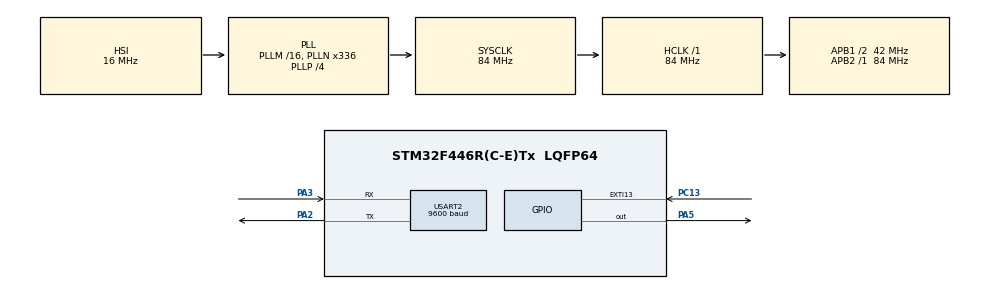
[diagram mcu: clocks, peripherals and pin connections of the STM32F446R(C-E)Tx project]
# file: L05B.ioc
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Mcu.Family=STM32F4
Mcu.Name=STM32F446R(C-E)Tx
Mcu.Package=LQFP64
NVIC.EXTI15_10_IRQn=true\:0\:0\:false\:false\:true\:true\:true\:true
NVIC.PriorityGroup=NVIC_PRIORITYGROUP_0
NVIC.USART2_IRQn=true\:0\:0\:false\:false\:true\:true\:true\:true
PA2.Mode=Asynchronous
PA2.Signal=USART2_TX
PA3.GPIO_PuPd=GPIO_PULLUP
PA3.Mode=Asynchronous
PA3.Signal=USART2_RX
PA5.Signal=GPIO_Output
PC13.GPIO_ModeDefaultEXTI=GPIO_MODE_IT_FALLING
PC13.GPIO_PuPd=GPIO_PULLUP
PC13.Signal=GPXTI13
ProjectManager.HeapSize=0x200
ProjectManager.StackSize=0x400
ProjectManager.TargetToolchain=STM32CubeIDE
RCC.AHBFreq_Value=84000000
RCC.APB1CLKDivider=RCC_HCLK_DIV2
RCC.APB1Freq_Value=42000000
RCC.APB1TimFreq_Value=84000000
RCC.APB2Freq_Value=84000000
RCC.APB2TimFreq_Value=84000000
RCC.CortexFreq_Value=84000000
RCC.FLatency-AdvancedSettings=FLASH_LATENCY_2
RCC.HCLKFreq_Value=84000000
RCC.HSE_VALUE=8000000
RCC.HSI_VALUE=16000000
RCC.LSE_VALUE=32768
RCC.PLLN=336
RCC.PLLP=RCC_PLLP_DIV4
RCC.SYSCLKFreq_VALUE=84000000
RCC.SYSCLKSource=RCC_SYSCLKSOURCE_PLLCLK
RCC.USBFreq_Value=168000000
RCC.VCOOutputFreq_Value=336000000
USART2.BaudRate=9600
USART2.VirtualMode=VM_ASYNC
board=NUCLEO-F446RE

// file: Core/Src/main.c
/* USER CODE BEGIN Header */
/**
  ******************************************************************************
  * @file           : main.c
  * @brief          : Main program body
  ******************************************************************************
  * @attention
  *
  * Copyright (c) 2025 STMicroelectronics.
  * All rights reserved.
  *
  * This software is licensed under terms that can be found in the LICENSE file
  * in the root directory of this software component.
  * If no LICENSE file comes with this software, it is provided AS-IS.
  *
  ******************************************************************************
  */
/* USER CODE END Header */
#include "main.h"

/* USER CODE BEGIN Includes */
#include<stdio.h>
#include<string.h>

/* USER CODE END Includes */

UART_HandleTypeDef huart2;

/* USER CODE BEGIN PV */

char chTXBuffer[100];

uint8_t ui8ApasariButon;

uint8_t ui8RX;

/* USER CODE END PV */

void SystemClock_Config(void);
static void MX_GPIO_Init(void);
static void MX_USART2_UART_Init(void);

int main(void)
{

  /* MCU Configuration--------------------------------------------------------*/

  /* Reset of all peripherals, Initializes the Flash interface and the Systick. */
  HAL_Init();

  /* Configure the system clock */
  SystemClock_Config();

  /* Initialize all configured peripherals */
  MX_GPIO_Init();
  MX_USART2_UART_Init();
  /* USER CODE BEGIN 2 */

  sprintf(chTXBuffer,"Primul meu mesaj de pe STM32F446\r\n");
  HAL_UART_Transmit(&huart2, (uint8_t *)chTXBuffer, strlen(chTXBuffer), HAL_MAX_DELAY);

  HAL_UART_Receive_IT(&huart2, &ui8RX, 1);

  /* USER CODE END 2 */

  /* Infinite loop */
  while (1)
  {

  }
}

void SystemClock_Config(void)
{
  RCC_OscInitTypeDef RCC_OscInitStruct = {0};
  RCC_ClkInitTypeDef RCC_ClkInitStruct = {0};

  /** Configure the main internal regulator output voltage
  */
  __HAL_RCC_PWR_CLK_ENABLE();
  __HAL_PWR_VOLTAGESCALING_CONFIG(PWR_REGULATOR_VOLTAGE_SCALE3);

  /** Initializes the RCC Oscillators according to the specified parameters
  * in the RCC_OscInitTypeDef structure.
  */
  RCC_OscInitStruct.OscillatorType = RCC_OSCILLATORTYPE_HSI;
  RCC_OscInitStruct.HSIState = RCC_HSI_ON;
  RCC_OscInitStruct.HSICalibrationValue = RCC_HSICALIBRATION_DEFAULT;
  RCC_OscInitStruct.PLL.PLLState = RCC_PLL_ON;
  RCC_OscInitStruct.PLL.PLLSource = RCC_PLLSOURCE_HSI;
  RCC_OscInitStruct.PLL.PLLM = 16;
  RCC_OscInitStruct.PLL.PLLN = 336;
  RCC_OscInitStruct.PLL.PLLP = RCC_PLLP_DIV4;
  RCC_OscInitStruct.PLL.PLLQ = 2;
  RCC_OscInitStruct.PLL.PLLR = 2;
  if (HAL_RCC_OscConfig(&RCC_OscInitStruct) != HAL_OK)
  {
    Error_Handler();
  }

  /** Initializes the CPU, AHB and APB buses clocks
  */
  RCC_ClkInitStruct.ClockType = RCC_CLOCKTYPE_HCLK|RCC_CLOCKTYPE_SYSCLK
                              |RCC_CLOCKTYPE_PCLK1|RCC_CLOCKTYPE_PCLK2;
  RCC_ClkInitStruct.SYSCLKSource = RCC_SYSCLKSOURCE_PLLCLK;
  RCC_ClkInitStruct.AHBCLKDivider = RCC_SYSCLK_DIV1;
  RCC_ClkInitStruct.APB1CLKDivider = RCC_HCLK_DIV2;
  RCC_ClkInitStruct.APB2CLKDivider = RCC_HCLK_DIV1;

  if (HAL_RCC_ClockConfig(&RCC_ClkInitStruct, FLASH_LATENCY_2) != HAL_OK)
  {
    Error_Handler();
  }
}

static void MX_USART2_UART_Init(void)
{

  huart2.Instance = USART2;
  huart2.Init.BaudRate = 9600;
  huart2.Init.WordLength = UART_WORDLENGTH_8B;
  huart2.Init.StopBits = UART_STOPBITS_1;
  huart2.Init.Parity = UART_PARITY_NONE;
  huart2.Init.Mode = UART_MODE_TX_RX;
  huart2.Init.HwFlowCtl = UART_HWCONTROL_NONE;
  huart2.Init.OverSampling = UART_OVERSAMPLING_16;
  if (HAL_UART_Init(&huart2) != HAL_OK)
  {
    Error_Handler();
  }

}

static void MX_GPIO_Init(void)
{
  GPIO_InitTypeDef GPIO_InitStruct = {0};

  /* GPIO Ports Clock Enable */
  __HAL_RCC_GPIOC_CLK_ENABLE();
  __HAL_RCC_GPIOA_CLK_ENABLE();

  /*Configure GPIO pin Output Level */
  HAL_GPIO_WritePin(GPIOA, GPIO_PIN_5, GPIO_PIN_RESET);

  /*Configure GPIO pin : PC13 */
  GPIO_InitStruct.Pin = GPIO_PIN_13;
  GPIO_InitStruct.Mode = GPIO_MODE_IT_FALLING;
  GPIO_InitStruct.Pull = GPIO_PULLUP;
  HAL_GPIO_Init(GPIOC, &GPIO_InitStruct);

  /*Configure GPIO pin : PA5 */
  GPIO_InitStruct.Pin = GPIO_PIN_5;
  GPIO_InitStruct.Mode = GPIO_MODE_OUTPUT_PP;
  GPIO_InitStruct.Pull = GPIO_NOPULL;
  GPIO_InitStruct.Speed = GPIO_SPEED_FREQ_LOW;
  HAL_GPIO_Init(GPIOA, &GPIO_InitStruct);

  /* EXTI interrupt init*/
  HAL_NVIC_SetPriority(EXTI15_10_IRQn, 0, 0);
  HAL_NVIC_EnableIRQ(EXTI15_10_IRQn);

}

/* USER CODE BEGIN 4 */

void HAL_GPIO_EXTI_Callback(uint16_t GPIO_Pin)
{
  /* Prevent unused argument(s) compilation warning */
  //UNUSED(GPIO_Pin);
  /* NOTE: This function Should not be modified, when the callback is needed,
           the HAL_GPIO_EXTI_Callback could be implemented in the user file
   */

	ui8ApasariButon ++;
	sprintf(chTXBuffer,"Apasari de buton = %d\r\n",ui8ApasariButon);
	HAL_UART_Transmit(&huart2, (uint8_t *)chTXBuffer, strlen(chTXBuffer), HAL_MAX_DELAY);

}

void HAL_UART_RxCpltCallback(UART_HandleTypeDef *huart)
{
  /* Prevent unused argument(s) compilation warning */
  //UNUSED(huart);
  /* NOTE: This function should not be modified, when the callback is needed,
           the HAL_UART_RxCpltCallback could be implemented in the user file
   */

  if(ui8RX == 'A') HAL_GPIO_WritePin(GPIOA, GPIO_PIN_5, GPIO_PIN_SET); // LED ON
  if(ui8RX == 'a') HAL_GPIO_WritePin(GPIOA, GPIO_PIN_5, GPIO_PIN_RESET); // LED OFF

  HAL_UART_Receive_IT(&huart2, &ui8RX, 1);
}

/* USER CODE END 4 */

void Error_Handler(void)
{
  __disable_irq();
  while (1)
  {
  }
}
